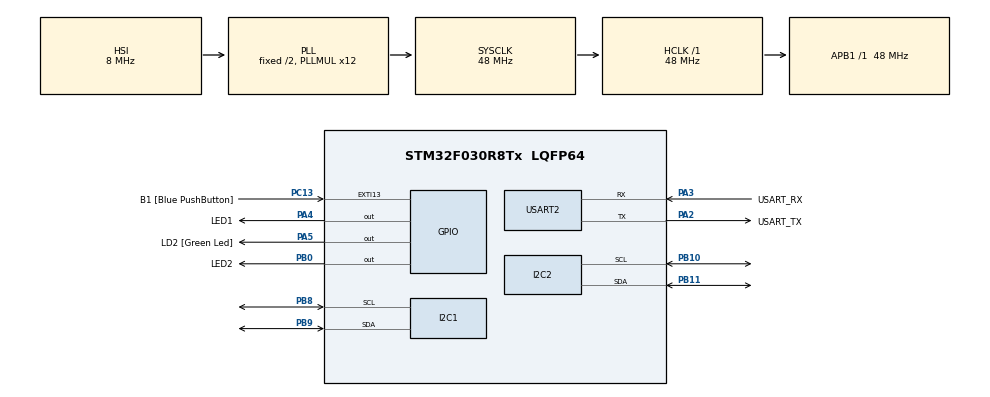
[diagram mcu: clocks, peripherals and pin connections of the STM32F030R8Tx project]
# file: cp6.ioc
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Dma.Request0=USART2_RX
Dma.USART2_RX.0.Direction=DMA_PERIPH_TO_MEMORY
Dma.USART2_RX.0.Instance=DMA1_Channel5
Dma.USART2_RX.0.MemDataAlignment=DMA_MDATAALIGN_BYTE
Dma.USART2_RX.0.MemInc=DMA_MINC_ENABLE
Dma.USART2_RX.0.Mode=DMA_CIRCULAR
Dma.USART2_RX.0.PeriphDataAlignment=DMA_PDATAALIGN_BYTE
Dma.USART2_RX.0.PeriphInc=DMA_PINC_DISABLE
Dma.USART2_RX.0.Priority=DMA_PRIORITY_LOW
I2C1.Timing=0x00201D2B
I2C2.Timing=0x10805D88
Mcu.Family=STM32F0
Mcu.Name=STM32F030R8Tx
Mcu.Package=LQFP64
NVIC.DMA1_Channel4_5_IRQn=true\:0\:0\:false\:false\:true\:false\:true\:true
PA13.GPIO_Label=TMS
PA13.Mode=Serial_Wire
PA13.Signal=SYS_SWDIO
PA14.GPIO_Label=TCK
PA14.Mode=Serial_Wire
PA14.Signal=SYS_SWCLK
PA2.GPIO_Label=USART_TX
PA2.GPIO_Mode=GPIO_MODE_AF_PP
PA2.GPIO_PuPd=GPIO_NOPULL
PA2.GPIO_Speed=GPIO_SPEED_FREQ_LOW
PA2.Mode=Asynchronous
PA2.Signal=USART2_TX
PA3.GPIO_Label=USART_RX
PA3.GPIO_Mode=GPIO_MODE_AF_PP
PA3.GPIO_PuPd=GPIO_NOPULL
PA3.GPIO_Speed=GPIO_SPEED_FREQ_LOW
PA3.Mode=Asynchronous
PA3.Signal=USART2_RX
PA4.GPIO_Label=LED1
PA4.Signal=GPIO_Output
PA5.GPIO_Label=LD2 [Green Led]
PA5.GPIO_Mode=GPIO_MODE_OUTPUT_PP
PA5.GPIO_PuPd=GPIO_NOPULL
PA5.GPIO_Speed=GPIO_SPEED_FREQ_LOW
PA5.Signal=GPIO_Output
PB0.GPIO_Label=LED2
PB0.Signal=GPIO_Output
PB10.Mode=I2C
PB10.Signal=I2C2_SCL
PB11.Mode=I2C
PB11.Signal=I2C2_SDA
PB8.Mode=I2C
PB8.Signal=I2C1_SCL
PB9.Mode=I2C
PB9.Signal=I2C1_SDA
PC13.GPIO_Label=B1 [Blue PushButton]
PC13.GPIO_ModeDefaultEXTI=GPIO_MODE_IT_FALLING
PC13.Signal=GPXTI13
PC14-OSC32_IN.Mode=LSE-External-Oscillator
PC14-OSC32_IN.Signal=RCC_OSC32_IN
PC15-OSC32_OUT.Mode=LSE-External-Oscillator
PC15-OSC32_OUT.Signal=RCC_OSC32_OUT
PF0-OSC_IN.Mode=HSE-External-Clock-Source
PF0-OSC_IN.Signal=RCC_OSC_IN
PF1-OSC_OUT.Signal=RCC_OSC_OUT
ProjectManager.HeapSize=0x200
ProjectManager.StackSize=0x400
ProjectManager.TargetToolchain=STM32CubeIDE
RCC.AHBFreq_Value=48000000
RCC.APB1Freq_Value=48000000
RCC.APB1TimFreq_Value=48000000
RCC.HCLKFreq_Value=48000000
RCC.PLLMUL=RCC_PLL_MUL12
RCC.SYSCLKFreq_VALUE=48000000
RCC.SYSCLKSource=RCC_SYSCLKSOURCE_PLLCLK
USART2.VirtualMode-Asynchronous=VM_ASYNC
board=NUCLEO-F030R8

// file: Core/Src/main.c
/* USER CODE BEGIN Header */
/**
  ******************************************************************************
  * @file           : main.c
  * @brief          : Main program body
  ******************************************************************************
  * @attention
  *
  * Copyright (c) 2024 STMicroelectronics.
  * All rights reserved.
  *
  * This software is licensed under terms that can be found in the LICENSE file
  * in the root directory of this software component.
  * If no LICENSE file comes with this software, it is provided AS-IS.
  *
  ******************************************************************************
  */
/* USER CODE END Header */
#include "main.h"

/* USER CODE BEGIN Includes */
#include <string.h>
/* USER CODE END Includes */

I2C_HandleTypeDef hi2c1;
I2C_HandleTypeDef hi2c2;

UART_HandleTypeDef huart2;
DMA_HandleTypeDef hdma_usart2_rx;

/* USER CODE BEGIN PV */
#define RX_BUFFER_LEN 64
#define EEPROM_ADDR 0xA0
static uint8_t uart_rx_buf[RX_BUFFER_LEN];
#define CMD_BUFFER_LEN 128
static volatile uint16_t uart_rx_read_ptr = 0;
#define uart_rx_write_ptr (RX_BUFFER_LEN - hdma_usart2_rx.Instance->CNDTR)
/* USER CODE END PV */

void SystemClock_Config(void);
static void MX_GPIO_Init(void);
static void MX_DMA_Init(void);
static void MX_USART2_UART_Init(void);
static void MX_I2C1_Init(void);
static void MX_I2C2_Init(void);

/* USER CODE BEGIN 0 */
static void uart_process_command(char *cmd)
{
	//printf("%s\n", cmd);

	char *token;
	token = strtok(cmd, " ");

	if (strcasecmp(token, "HELLO") == 0)
	{
	 printf("Communication OK\n");
	}

	else if (strcasecmp(token, "LED1") == 0)
	{
		token = strtok(NULL, " ");
		if (strcasecmp(token, "ON") == 0) HAL_GPIO_WritePin(LED1_GPIO_Port, LED1_Pin, GPIO_PIN_SET);
		else if (strcasecmp(token, "OFF") == 0) HAL_GPIO_WritePin(LED1_GPIO_Port, LED1_Pin, GPIO_PIN_RESET);
		printf("OK\n");
	}
	else if (strcasecmp(token, "LED2") == 0)
	{
		token = strtok(NULL, " ");
		if (strcasecmp(token, "ON") == 0) HAL_GPIO_WritePin(LED2_GPIO_Port, LED2_Pin, GPIO_PIN_SET);
		else if (strcasecmp(token, "OFF") == 0) HAL_GPIO_WritePin(LED2_GPIO_Port, LED2_Pin, GPIO_PIN_RESET);
		printf("OK\n");
	}

	else if (strcasecmp(token, "STATUS") == 0)
	{
		uint8_t status1 = HAL_GPIO_ReadPin(LED1_GPIO_Port, LED1_Pin);
		uint8_t status2 = HAL_GPIO_ReadPin(LED2_GPIO_Port, LED2_Pin);

		/*if (status1)
				{
				    status1 = "ON";
				} else {
				    status1 = "OFF";
				}

				if (status2)
				{
				    status2 = "ON";
				} else {
				    status2 = "OFF";
				}

				printf("LED1: %3s ", (status1));
				printf("LED2: %3s ", (status2));*/

		printf("LED1: %3s	LED2: %3s\n", (status1 ? "ON" : "OFF"), ((status2 ? "ON" : "OFF")));
	}

	else if (strcasecmp(token, "READ") == 0)
	{
		token = strtok(NULL, " ");
		uint16_t addr = atoi(token);
		uint8_t value;
		HAL_I2C_Mem_Read(&hi2c1, EEPROM_ADDR, addr, I2C_MEMADD_SIZE_16BIT, &value, 1, 1000);

		printf("adresa 0x%04X = 0x%02X\n", addr, value);
	}

	else if (strcasecmp(token, "WRITE") == 0)
	{
		token = strtok(NULL, " ");
		uint16_t addr = atoi(token);
		token = strtok(NULL, " ");
		uint8_t value = atoi(token);
		HAL_I2C_Mem_Write(&hi2c1, EEPROM_ADDR, addr, I2C_MEMADD_SIZE_16BIT, &value, 1, 1000);

		printf("adresa 0x%04X = 0x%02X\n", addr, value);
	}

	else if (strcasecmp(token, "DUMP") == 0)
	{
	    uint8_t buffer[16];
	    uint16_t addr = 0x0000;
	    HAL_I2C_Mem_Read(&hi2c1, EEPROM_ADDR, addr, I2C_MEMADD_SIZE_16BIT, buffer, 16, 1000);
	    for (int i = 0; i < 16; i++)
	    {
	        printf("0x%04X = 0x%02X\n", addr + i, buffer[i]);
	    }
	}

	else
	{
		printf("Nelze\n");
	}
}
static void uart_byte_available(uint8_t c)
{
	 static uint16_t cnt;
	 static char data[CMD_BUFFER_LEN];
	 if (cnt < CMD_BUFFER_LEN && c >= 32 && c <= 126) data[cnt++] = c;
	 if ((c == '\n' || c == '\r') && cnt > 0) {
		 data[cnt] = '\0';
		 uart_process_command(data);
	 	 cnt = 0;
	 }
}
/* USER CODE END 0 */

int main(void)
{

  /* MCU Configuration--------------------------------------------------------*/

  /* Reset of all peripherals, Initializes the Flash interface and the Systick. */
  HAL_Init();

  /* Configure the system clock */
  SystemClock_Config();

  /* Initialize all configured peripherals */
  MX_GPIO_Init();
  MX_DMA_Init();
  MX_USART2_UART_Init();
  MX_I2C1_Init();
  MX_I2C2_Init();
  /* USER CODE BEGIN 2 */
  HAL_UART_Receive_DMA(&huart2, uart_rx_buf, RX_BUFFER_LEN);
  /* USER CODE END 2 */

  /* Infinite loop */
  /* USER CODE BEGIN WHILE */
  while (1)
  {
	  while (uart_rx_read_ptr != uart_rx_write_ptr) {
	   uint8_t b = uart_rx_buf[uart_rx_read_ptr];
	   if (++uart_rx_read_ptr >= RX_BUFFER_LEN) uart_rx_read_ptr = 0; // increase read pointer
	   uart_byte_available(b); // process every received byte with the RX state machine
	  }

    /* USER CODE END WHILE */

  }
}

void SystemClock_Config(void)
{
  RCC_OscInitTypeDef RCC_OscInitStruct = {0};
  RCC_ClkInitTypeDef RCC_ClkInitStruct = {0};
  RCC_PeriphCLKInitTypeDef PeriphClkInit = {0};

  /** Initializes the RCC Oscillators according to the specified parameters
  * in the RCC_OscInitTypeDef structure.
  */
  RCC_OscInitStruct.OscillatorType = RCC_OSCILLATORTYPE_HSI;
  RCC_OscInitStruct.HSIState = RCC_HSI_ON;
  RCC_OscInitStruct.HSICalibrationValue = RCC_HSICALIBRATION_DEFAULT;
  RCC_OscInitStruct.PLL.PLLState = RCC_PLL_ON;
  RCC_OscInitStruct.PLL.PLLSource = RCC_PLLSOURCE_HSI;
  RCC_OscInitStruct.PLL.PLLMUL = RCC_PLL_MUL12;
  RCC_OscInitStruct.PLL.PREDIV = RCC_PREDIV_DIV1;
  if (HAL_RCC_OscConfig(&RCC_OscInitStruct) != HAL_OK)
  {
    Error_Handler();
  }

  /** Initializes the CPU, AHB and APB buses clocks
  */
  RCC_ClkInitStruct.ClockType = RCC_CLOCKTYPE_HCLK|RCC_CLOCKTYPE_SYSCLK
                              |RCC_CLOCKTYPE_PCLK1;
  RCC_ClkInitStruct.SYSCLKSource = RCC_SYSCLKSOURCE_PLLCLK;
  RCC_ClkInitStruct.AHBCLKDivider = RCC_SYSCLK_DIV1;
  RCC_ClkInitStruct.APB1CLKDivider = RCC_HCLK_DIV1;

  if (HAL_RCC_ClockConfig(&RCC_ClkInitStruct, FLASH_LATENCY_1) != HAL_OK)
  {
    Error_Handler();
  }
  PeriphClkInit.PeriphClockSelection = RCC_PERIPHCLK_I2C1;
  PeriphClkInit.I2c1ClockSelection = RCC_I2C1CLKSOURCE_HSI;
  if (HAL_RCCEx_PeriphCLKConfig(&PeriphClkInit) != HAL_OK)
  {
    Error_Handler();
  }
}

static void MX_I2C1_Init(void)
{

  hi2c1.Instance = I2C1;
  hi2c1.Init.Timing = 0x00201D2B;
  hi2c1.Init.OwnAddress1 = 0;
  hi2c1.Init.AddressingMode = I2C_ADDRESSINGMODE_7BIT;
  hi2c1.Init.DualAddressMode = I2C_DUALADDRESS_DISABLE;
  hi2c1.Init.OwnAddress2 = 0;
  hi2c1.Init.OwnAddress2Masks = I2C_OA2_NOMASK;
  hi2c1.Init.GeneralCallMode = I2C_GENERALCALL_DISABLE;
  hi2c1.Init.NoStretchMode = I2C_NOSTRETCH_DISABLE;
  if (HAL_I2C_Init(&hi2c1) != HAL_OK)
  {
    Error_Handler();
  }

  /** Configure Analogue filter
  */
  if (HAL_I2CEx_ConfigAnalogFilter(&hi2c1, I2C_ANALOGFILTER_ENABLE) != HAL_OK)
  {
    Error_Handler();
  }

  /** Configure Digital filter
  */
  if (HAL_I2CEx_ConfigDigitalFilter(&hi2c1, 0) != HAL_OK)
  {
    Error_Handler();
  }

}

static void MX_I2C2_Init(void)
{

  hi2c2.Instance = I2C2;
  hi2c2.Init.Timing = 0x10805D88;
  hi2c2.Init.OwnAddress1 = 0;
  hi2c2.Init.AddressingMode = I2C_ADDRESSINGMODE_7BIT;
  hi2c2.Init.DualAddressMode = I2C_DUALADDRESS_DISABLE;
  hi2c2.Init.OwnAddress2 = 0;
  hi2c2.Init.OwnAddress2Masks = I2C_OA2_NOMASK;
  hi2c2.Init.GeneralCallMode = I2C_GENERALCALL_DISABLE;
  hi2c2.Init.NoStretchMode = I2C_NOSTRETCH_DISABLE;
  if (HAL_I2C_Init(&hi2c2) != HAL_OK)
  {
    Error_Handler();
  }

  /** Configure Analogue filter
  */
  if (HAL_I2CEx_ConfigAnalogFilter(&hi2c2, I2C_ANALOGFILTER_ENABLE) != HAL_OK)
  {
    Error_Handler();
  }

  /** Configure Digital filter
  */
  if (HAL_I2CEx_ConfigDigitalFilter(&hi2c2, 0) != HAL_OK)
  {
    Error_Handler();
  }

}

static void MX_USART2_UART_Init(void)
{

  huart2.Instance = USART2;
  huart2.Init.BaudRate = 38400;
  huart2.Init.WordLength = UART_WORDLENGTH_8B;
  huart2.Init.StopBits = UART_STOPBITS_1;
  huart2.Init.Parity = UART_PARITY_NONE;
  huart2.Init.Mode = UART_MODE_TX_RX;
  huart2.Init.HwFlowCtl = UART_HWCONTROL_NONE;
  huart2.Init.OverSampling = UART_OVERSAMPLING_16;
  huart2.Init.OneBitSampling = UART_ONE_BIT_SAMPLE_DISABLE;
  huart2.AdvancedInit.AdvFeatureInit = UART_ADVFEATURE_NO_INIT;
  if (HAL_UART_Init(&huart2) != HAL_OK)
  {
    Error_Handler();
  }

}

static void MX_DMA_Init(void)
{

  /* DMA controller clock enable */
  __HAL_RCC_DMA1_CLK_ENABLE();

  /* DMA interrupt init */
  /* DMA1_Channel4_5_IRQn interrupt configuration */
  HAL_NVIC_SetPriority(DMA1_Channel4_5_IRQn, 0, 0);
  HAL_NVIC_EnableIRQ(DMA1_Channel4_5_IRQn);

}

static void MX_GPIO_Init(void)
{
  GPIO_InitTypeDef GPIO_InitStruct = {0};

  /* GPIO Ports Clock Enable */
  __HAL_RCC_GPIOC_CLK_ENABLE();
  __HAL_RCC_GPIOF_CLK_ENABLE();
  __HAL_RCC_GPIOA_CLK_ENABLE();
  __HAL_RCC_GPIOB_CLK_ENABLE();

  /*Configure GPIO pin Output Level */
  HAL_GPIO_WritePin(GPIOA, LED1_Pin|LD2_Pin, GPIO_PIN_RESET);

  /*Configure GPIO pin Output Level */
  HAL_GPIO_WritePin(LED2_GPIO_Port, LED2_Pin, GPIO_PIN_RESET);

  /*Configure GPIO pin : B1_Pin */
  GPIO_InitStruct.Pin = B1_Pin;
  GPIO_InitStruct.Mode = GPIO_MODE_IT_FALLING;
  GPIO_InitStruct.Pull = GPIO_NOPULL;
  HAL_GPIO_Init(B1_GPIO_Port, &GPIO_InitStruct);

  /*Configure GPIO pins : LED1_Pin LD2_Pin */
  GPIO_InitStruct.Pin = LED1_Pin|LD2_Pin;
  GPIO_InitStruct.Mode = GPIO_MODE_OUTPUT_PP;
  GPIO_InitStruct.Pull = GPIO_NOPULL;
  GPIO_InitStruct.Speed = GPIO_SPEED_FREQ_LOW;
  HAL_GPIO_Init(GPIOA, &GPIO_InitStruct);

  /*Configure GPIO pin : LED2_Pin */
  GPIO_InitStruct.Pin = LED2_Pin;
  GPIO_InitStruct.Mode = GPIO_MODE_OUTPUT_PP;
  GPIO_InitStruct.Pull = GPIO_NOPULL;
  GPIO_InitStruct.Speed = GPIO_SPEED_FREQ_LOW;
  HAL_GPIO_Init(LED2_GPIO_Port, &GPIO_InitStruct);

}

/* USER CODE BEGIN 4 */

int _write(int file, char const *buf, int n)
{
 /* stdout redirection to UART2 */
 HAL_UART_Transmit(&huart2, (uint8_t*)(buf), n, HAL_MAX_DELAY);
 return n;
}

/* USER CODE END 4 */

void Error_Handler(void)
{
  __disable_irq();
  while (1)
  {
  }
}
